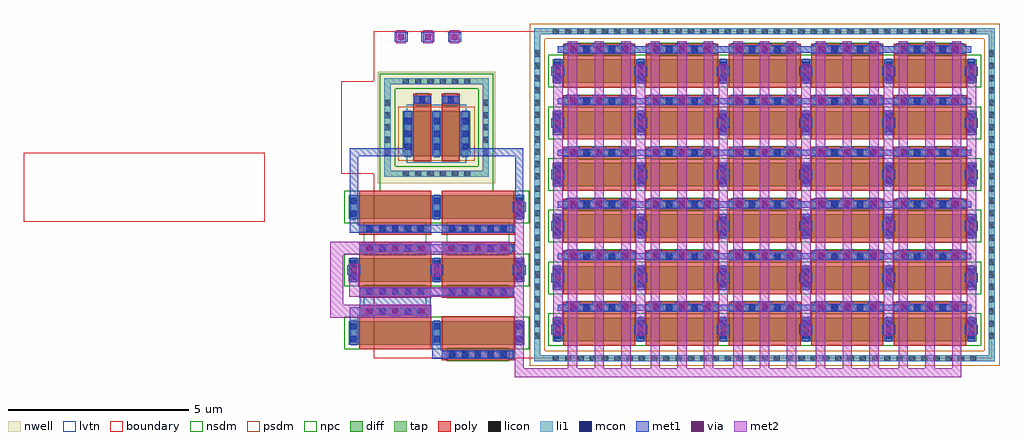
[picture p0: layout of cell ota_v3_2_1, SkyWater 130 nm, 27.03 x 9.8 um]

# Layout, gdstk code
import gdstk
lib = gdstk.Library(unit=1e-6, precision=1e-09)
def R(c, l, rs):  # rectangles x0, y0, x1, y1
    for r in rs: c.add(gdstk.rectangle(r[:2], r[2:], *l))
def A(c, l, x, y, w, h, nx, ny, dx, dy):  # array of equal rectangles
    R(c, l, [(x+i*dx, y+j*dy, x+i*dx+w, y+j*dy+h) for i in range(nx) for j in range(ny)])
nwell = (64, 20)
diff = (65, 20)
tap = (65, 44)
poly = (66, 20)
licon = (66, 44)
li1 = (67, 20)
mcon = (67, 44)
met1 = (68, 20)
via = (68, 44)
met2 = (69, 20)
nsdm = (93, 44)
psdm = (94, 20)
npc = (95, 20)
lvtn = (125, 44)
boundary = (235, 4)

sky130_fd_pr__nfet_01v8_ = lib.new_cell('sky130_fd_pr__nfet_01v8_KE8YQJ')
R(sky130_fd_pr__nfet_01v8_, boundary, [(-3.815,-0.955,2.86,0.955)])

c_sky130_fd_pr__nfet_01v8_ = lib.new_cell('sky130_fd_pr__nfet_01v8_YCG9D7')
R(c_sky130_fd_pr__nfet_01v8_, diff, [(-2.435,-0.325,2.435,0.325)])
R(c_sky130_fd_pr__nfet_01v8_, poly, [(0.145,-0.765,2.145,0.455), (-2.145,-0.455,-0.145,0.765)])
A(c_sky130_fd_pr__nfet_01v8_, licon, 0.38, -0.685, 0.17, 0.17, 5, 1, 0.34, 0)
A(c_sky130_fd_pr__nfet_01v8_, licon, -2.375, -0.255, 0.17, 0.17, 3, 2, 2.29, 0.34)
A(c_sky130_fd_pr__nfet_01v8_, licon, -1.91, 0.515, 0.17, 0.17, 5, 1, 0.34, 0)
A(c_sky130_fd_pr__nfet_01v8_, li1, -2.375, -0.345, 0.17, 0.69, 3, 1, 2.29, 0)
R(c_sky130_fd_pr__nfet_01v8_, li1, [(0.145,-0.685,2.145,-0.515), (-2.145,0.515,-0.145,0.685)])
A(c_sky130_fd_pr__nfet_01v8_, mcon, 0.34, -0.685, 0.17, 0.17, 5, 1, 0.36, 0)
A(c_sky130_fd_pr__nfet_01v8_, mcon, -2.375, -0.265, 0.17, 0.17, 3, 2, 2.29, 0.36)
A(c_sky130_fd_pr__nfet_01v8_, mcon, -1.95, 0.515, 0.17, 0.17, 5, 1, 0.36, 0)
A(c_sky130_fd_pr__nfet_01v8_, met1, -2.405, -0.325, 0.23, 0.65, 3, 1, 2.29, 0)
R(c_sky130_fd_pr__nfet_01v8_, met1, [(0.165,-0.715,2.125,-0.485), (-2.125,0.485,-0.165,0.715)])
R(c_sky130_fd_pr__nfet_01v8_, nsdm, [(-2.56,-0.45,2.56,0.45)])
R(c_sky130_fd_pr__nfet_01v8_, npc, [(0.28,-0.785,2.01,-0.415), (-2.01,0.415,-0.28,0.785)])
c_sky130_fd_pr__nfet_01v8_.add(gdstk.Label('D0', (-2.29,0), layer=67, texttype=5))
c_sky130_fd_pr__nfet_01v8_.add(gdstk.Label('G0', (-1.145,0.6), layer=67, texttype=5))
c_sky130_fd_pr__nfet_01v8_.add(gdstk.Label('S1', (0,0), layer=67, texttype=5))

c_sky130_fd_pr__nfet_01v8__ = lib.new_cell('sky130_fd_pr__nfet_01v8_NJGPHB')
R(c_sky130_fd_pr__nfet_01v8__, diff, [(-2.435,-0.17,2.435,0.48)])
R(c_sky130_fd_pr__nfet_01v8__, poly, [(-2.145,-0.61,-0.145,0.61), (0.145,-0.61,2.145,0.61)])
A(c_sky130_fd_pr__nfet_01v8__, licon, -1.91, -0.53, 0.17, 0.17, 5, 1, 0.34, 0)
A(c_sky130_fd_pr__nfet_01v8__, licon, 0.38, -0.53, 0.17, 0.17, 5, 1, 0.34, 0)
A(c_sky130_fd_pr__nfet_01v8__, licon, -2.375, -0.1, 0.17, 0.17, 3, 2, 2.29, 0.34)
A(c_sky130_fd_pr__nfet_01v8__, li1, -2.375, -0.19, 0.17, 0.69, 3, 1, 2.29, 0)
R(c_sky130_fd_pr__nfet_01v8__, li1, [(-2.145,-0.53,-0.145,-0.36), (0.145,-0.53,2.145,-0.36)])
A(c_sky130_fd_pr__nfet_01v8__, mcon, -1.95, -0.53, 0.17, 0.17, 5, 1, 0.36, 0)
A(c_sky130_fd_pr__nfet_01v8__, mcon, 0.34, -0.53, 0.17, 0.17, 5, 1, 0.36, 0)
A(c_sky130_fd_pr__nfet_01v8__, mcon, -2.375, -0.11, 0.17, 0.17, 3, 2, 2.29, 0.36)
A(c_sky130_fd_pr__nfet_01v8__, met1, -2.405, -0.17, 0.23, 0.65, 3, 1, 2.29, 0)
R(c_sky130_fd_pr__nfet_01v8__, met1, [(-2.125,-0.56,-0.165,-0.33), (0.165,-0.56,2.125,-0.33)])
R(c_sky130_fd_pr__nfet_01v8__, nsdm, [(-2.56,-0.295,2.56,0.605)])
R(c_sky130_fd_pr__nfet_01v8__, npc, [(-2.01,-0.63,-0.28,-0.26), (0.28,-0.63,2.01,-0.26)])
c_sky130_fd_pr__nfet_01v8__.add(gdstk.Label('D0', (-2.29,0.155), layer=67, texttype=5))
c_sky130_fd_pr__nfet_01v8__.add(gdstk.Label('G0', (-1.145,-0.445), layer=67, texttype=5))
c_sky130_fd_pr__nfet_01v8__.add(gdstk.Label('S1', (0,0.155), layer=67, texttype=5))
c_sky130_fd_pr__nfet_01v8__.add(gdstk.Label('G1', (1.145,-0.445), layer=67, texttype=5))

sky130_fd_pr__pfet_01v8_ = lib.new_cell('sky130_fd_pr__pfet_01v8_lvt_YE4XRW')
R(sky130_fd_pr__pfet_01v8_, nwell, [(-1.625,-1.545,1.625,1.545)])
R(sky130_fd_pr__pfet_01v8_, diff, [(-0.935,-0.805,0.935,0.445)])
R(sky130_fd_pr__pfet_01v8_, tap, [(-1.445,-1.365,1.445,-1.195), (-1.445,-1.195,-1.275,1.195), (1.275,-1.195,1.445,1.195), (-1.445,1.195,1.445,1.365)])
R(sky130_fd_pr__pfet_01v8_, poly, [(-0.645,-0.935,-0.145,0.93), (0.145,-0.935,0.645,0.93)])
A(sky130_fd_pr__pfet_01v8_, licon, -0.935, -1.365, 0.17, 0.17, 6, 2, 0.34, 2.56)
A(sky130_fd_pr__pfet_01v8_, licon, -1.445, -0.765, 0.17, 0.17, 1, 5, 0, 0.34)
A(sky130_fd_pr__pfet_01v8_, licon, 1.275, -0.765, 0.17, 0.17, 1, 5, 0, 0.34)
A(sky130_fd_pr__pfet_01v8_, licon, -0.875, -0.605, 0.17, 0.17, 3, 3, 0.79, 0.34)
R(sky130_fd_pr__pfet_01v8_, licon, [(-0.48,0.68,-0.31,0.85), (0.31,0.68,0.48,0.85)])
A(sky130_fd_pr__pfet_01v8_, li1, -0.875, -0.825, 0.17, 1.29, 3, 1, 0.79, 0)
R(sky130_fd_pr__pfet_01v8_, li1, [(-1.445,-1.365,1.445,-1.195), (-1.445,-1.195,-1.275,1.195), (1.275,-1.195,1.445,1.195), (-0.645,0.68,-0.145,0.85), (0.145,0.68,0.645,0.85), (-1.445,1.195,1.445,1.365)])
A(sky130_fd_pr__pfet_01v8_, mcon, -0.875, -0.625, 0.17, 0.17, 3, 3, 0.79, 0.36)
R(sky130_fd_pr__pfet_01v8_, mcon, [(-0.48,0.68,-0.31,0.85), (0.31,0.68,0.48,0.85)])
A(sky130_fd_pr__pfet_01v8_, met1, -0.905, -0.805, 0.23, 1.25, 3, 1, 0.79, 0)
R(sky130_fd_pr__pfet_01v8_, met1, [(-0.625,0.65,-0.165,0.88), (0.165,0.65,0.625,0.88)])
R(sky130_fd_pr__pfet_01v8_, nsdm, [(-1.57,-1.49,1.57,-1.07), (-1.57,-1.07,-1.15,1.07), (1.15,-1.07,1.57,1.07), (-1.57,1.07,1.57,1.49)])
R(sky130_fd_pr__pfet_01v8_, psdm, [(-1.06,-0.93,1.06,0.57)])
R(sky130_fd_pr__pfet_01v8_, npc, [(-0.58,0.58,-0.21,0.95), (0.21,0.58,0.58,0.95)])
R(sky130_fd_pr__pfet_01v8_, lvtn, [(-0.825,-0.985,0.825,0.625)])
R(sky130_fd_pr__pfet_01v8_, boundary, [(-2.64,-1.28,1.36,1.28)])
sky130_fd_pr__pfet_01v8_.add(gdstk.Label('B', (0,-1.28), layer=67, texttype=5))
sky130_fd_pr__pfet_01v8_.add(gdstk.Label('D0', (-0.79,-0.18), layer=67, texttype=5))
sky130_fd_pr__pfet_01v8_.add(gdstk.Label('G0', (-0.395,0.765), layer=67, texttype=5))
sky130_fd_pr__pfet_01v8_.add(gdstk.Label('S1', (0,-0.18), layer=67, texttype=5))
sky130_fd_pr__pfet_01v8_.add(gdstk.Label('G1', (0.395,0.765), layer=67, texttype=5))

c_sky130_fd_pr__nfet_01v8___ = lib.new_cell('sky130_fd_pr__nfet_01v8_BTD5D5')
R(c_sky130_fd_pr__nfet_01v8___, diff, [(-2.435,-0.325,2.435,0.325)])
R(c_sky130_fd_pr__nfet_01v8___, poly, [(-2.145,-0.765,-0.145,0.765), (0.145,-0.765,2.145,0.765)])
A(c_sky130_fd_pr__nfet_01v8___, licon, -1.91, -0.685, 0.17, 0.17, 5, 2, 0.34, 1.2)
A(c_sky130_fd_pr__nfet_01v8___, licon, 0.38, -0.685, 0.17, 0.17, 5, 2, 0.34, 1.2)
A(c_sky130_fd_pr__nfet_01v8___, licon, -2.375, -0.255, 0.17, 0.17, 3, 2, 2.29, 0.34)
A(c_sky130_fd_pr__nfet_01v8___, li1, -2.375, -0.345, 0.17, 0.69, 3, 1, 2.29, 0)
R(c_sky130_fd_pr__nfet_01v8___, li1, [(-2.145,-0.685,-0.145,-0.515), (0.145,-0.685,2.145,-0.515), (-2.145,0.515,-0.145,0.685), (0.145,0.515,2.145,0.685)])
A(c_sky130_fd_pr__nfet_01v8___, mcon, -1.95, -0.685, 0.17, 0.17, 5, 2, 0.36, 1.2)
A(c_sky130_fd_pr__nfet_01v8___, mcon, 0.34, -0.685, 0.17, 0.17, 5, 2, 0.36, 1.2)
A(c_sky130_fd_pr__nfet_01v8___, mcon, -2.375, -0.265, 0.17, 0.17, 3, 2, 2.29, 0.36)
A(c_sky130_fd_pr__nfet_01v8___, met1, -2.405, -0.325, 0.23, 0.65, 3, 1, 2.29, 0)
R(c_sky130_fd_pr__nfet_01v8___, met1, [(-2.125,-0.715,-0.165,-0.485), (0.165,-0.715,2.125,-0.485), (-2.125,0.485,-0.165,0.715), (0.165,0.485,2.125,0.715)])
R(c_sky130_fd_pr__nfet_01v8___, nsdm, [(-2.56,-0.45,2.56,0.45)])
R(c_sky130_fd_pr__nfet_01v8___, npc, [(-2.01,-0.785,-0.28,-0.415), (0.28,-0.785,2.01,-0.415), (-2.01,0.415,-0.28,0.785), (0.28,0.415,2.01,0.785)])
c_sky130_fd_pr__nfet_01v8___.add(gdstk.Label('D0', (-2.29,0), layer=67, texttype=5))
c_sky130_fd_pr__nfet_01v8___.add(gdstk.Label('G0', (-1.145,0.6), layer=67, texttype=5))
c_sky130_fd_pr__nfet_01v8___.add(gdstk.Label('S1', (0,0), layer=67, texttype=5))
c_sky130_fd_pr__nfet_01v8___.add(gdstk.Label('G1', (1.145,0.6), layer=67, texttype=5))

c_sky130_fd_pr__nfet_01v8____ = lib.new_cell('sky130_fd_pr__nfet_01v8_K8R7AN')
A(c_sky130_fd_pr__nfet_01v8____, diff, -5.87, -4.055, 11.74, 0.65, 1, 6, 0, 1.43)
R(c_sky130_fd_pr__nfet_01v8____, tap, [(-6.38,-4.615,6.38,-4.445), (-6.38,-4.445,-6.21,4.445), (6.21,-4.445,6.38,4.445), (-6.38,4.445,6.38,4.615)])
A(c_sky130_fd_pr__nfet_01v8____, poly, -5.58, -4.185, 2, 1.22, 5, 6, 2.29, 1.43)
A(c_sky130_fd_pr__nfet_01v8____, licon, -5.865, -4.615, 0.17, 0.17, 35, 2, 0.34, 9.06)
A(c_sky130_fd_pr__nfet_01v8____, licon, -6.38, -3.995, 0.17, 0.17, 1, 24, 0, 0.34)
A(c_sky130_fd_pr__nfet_01v8____, licon, 6.21, -3.995, 0.17, 0.17, 1, 24, 0, 0.34)
A(c_sky130_fd_pr__nfet_01v8____, licon, -5.81, -3.985, 0.17, 0.17, 6, 2, 2.29, 0.34)
A(c_sky130_fd_pr__nfet_01v8____, licon, -5.345, -3.215, 0.17, 0.17, 5, 6, 0.34, 1.43)
A(c_sky130_fd_pr__nfet_01v8____, licon, -3.055, -3.215, 0.17, 0.17, 5, 6, 0.34, 1.43)
A(c_sky130_fd_pr__nfet_01v8____, licon, -0.765, -3.215, 0.17, 0.17, 5, 6, 0.34, 1.43)
A(c_sky130_fd_pr__nfet_01v8____, licon, 1.525, -3.215, 0.17, 0.17, 5, 6, 0.34, 1.43)
A(c_sky130_fd_pr__nfet_01v8____, licon, 3.815, -3.215, 0.17, 0.17, 5, 6, 0.34, 1.43)
A(c_sky130_fd_pr__nfet_01v8____, licon, -5.81, -2.555, 0.17, 0.17, 6, 2, 2.29, 0.34)
A(c_sky130_fd_pr__nfet_01v8____, licon, -5.81, -1.125, 0.17, 0.17, 6, 2, 2.29, 0.34)
A(c_sky130_fd_pr__nfet_01v8____, licon, -5.81, 0.305, 0.17, 0.17, 6, 2, 2.29, 0.34)
A(c_sky130_fd_pr__nfet_01v8____, licon, -5.81, 1.735, 0.17, 0.17, 6, 2, 2.29, 0.34)
A(c_sky130_fd_pr__nfet_01v8____, licon, -5.81, 3.165, 0.17, 0.17, 6, 2, 2.29, 0.34)
A(c_sky130_fd_pr__nfet_01v8____, li1, -5.81, -4.075, 0.17, 0.69, 6, 6, 2.29, 1.43)
A(c_sky130_fd_pr__nfet_01v8____, li1, -5.725, -3.215, 11.45, 0.17, 1, 6, 0, 1.43)
R(c_sky130_fd_pr__nfet_01v8____, li1, [(-6.38,-4.615,6.38,-4.445), (-6.38,-4.445,-6.21,4.445), (6.21,-4.445,6.38,4.445), (-6.38,4.445,6.38,4.615)])
A(c_sky130_fd_pr__nfet_01v8____, mcon, -5.81, -3.995, 0.17, 0.17, 6, 2, 2.29, 0.36)
A(c_sky130_fd_pr__nfet_01v8____, mcon, -5.385, -3.215, 0.17, 0.17, 5, 6, 0.36, 1.43)
A(c_sky130_fd_pr__nfet_01v8____, mcon, -3.095, -3.215, 0.17, 0.17, 5, 6, 0.36, 1.43)
A(c_sky130_fd_pr__nfet_01v8____, mcon, -0.805, -3.215, 0.17, 0.17, 5, 6, 0.36, 1.43)
A(c_sky130_fd_pr__nfet_01v8____, mcon, 1.485, -3.215, 0.17, 0.17, 5, 6, 0.36, 1.43)
A(c_sky130_fd_pr__nfet_01v8____, mcon, 3.775, -3.215, 0.17, 0.17, 5, 6, 0.36, 1.43)
A(c_sky130_fd_pr__nfet_01v8____, mcon, -5.81, -2.565, 0.17, 0.17, 6, 2, 2.29, 0.36)
A(c_sky130_fd_pr__nfet_01v8____, mcon, -5.81, -1.135, 0.17, 0.17, 6, 2, 2.29, 0.36)
A(c_sky130_fd_pr__nfet_01v8____, mcon, -5.81, 0.295, 0.17, 0.17, 6, 2, 2.29, 0.36)
A(c_sky130_fd_pr__nfet_01v8____, mcon, -5.81, 1.725, 0.17, 0.17, 6, 2, 2.29, 0.36)
A(c_sky130_fd_pr__nfet_01v8____, mcon, -5.81, 3.155, 0.17, 0.17, 6, 2, 2.29, 0.36)
A(c_sky130_fd_pr__nfet_01v8____, met1, -5.84, -4.055, 0.23, 0.65, 6, 6, 2.29, 1.43)
A(c_sky130_fd_pr__nfet_01v8____, met1, -5.56, -3.245, 1.96, 0.03, 5, 2, 2.29, 0.2)
A(c_sky130_fd_pr__nfet_01v8____, met1, -5.725, -3.215, 11.45, 0.17, 1, 6, 0, 1.43)
A(c_sky130_fd_pr__nfet_01v8____, met1, -5.56, -1.815, 1.96, 0.03, 5, 2, 2.29, 0.2)
A(c_sky130_fd_pr__nfet_01v8____, met1, -5.56, -0.385, 1.96, 0.03, 5, 2, 2.29, 0.2)
A(c_sky130_fd_pr__nfet_01v8____, met1, -5.56, 1.045, 1.96, 0.03, 5, 2, 2.29, 0.2)
A(c_sky130_fd_pr__nfet_01v8____, met1, -5.56, 2.475, 1.96, 0.03, 5, 2, 2.29, 0.2)
A(c_sky130_fd_pr__nfet_01v8____, met1, -5.56, 3.905, 1.96, 0.03, 5, 2, 2.29, 0.2)
A(c_sky130_fd_pr__nfet_01v8____, nsdm, -5.995, -4.18, 11.99, 0.9, 1, 6, 0, 1.43)
R(c_sky130_fd_pr__nfet_01v8____, psdm, [(-6.505,-4.74,6.505,-4.32), (-6.505,-4.32,-6.085,4.32), (6.085,-4.32,6.505,4.32), (-6.505,4.32,6.505,4.74)])
A(c_sky130_fd_pr__nfet_01v8____, npc, -5.445, -3.315, 1.73, 0.37, 5, 6, 2.29, 1.43)
R(c_sky130_fd_pr__nfet_01v8____, boundary, [(-10.825,-4.53,6.295,4.53)])
c_sky130_fd_pr__nfet_01v8____.add(gdstk.Label('B', (0,-4.53), layer=67, texttype=5))
c_sky130_fd_pr__nfet_01v8____.add(gdstk.Label('D0_0', (-5.725,-3.73), layer=67, texttype=5))
c_sky130_fd_pr__nfet_01v8____.add(gdstk.Label('G0', (4.58,-3.13), layer=67, texttype=5))
c_sky130_fd_pr__nfet_01v8____.add(gdstk.Label('G0', (2.29,-3.13), layer=67, texttype=5))
c_sky130_fd_pr__nfet_01v8____.add(gdstk.Label('G0', (0,-3.13), layer=67, texttype=5))
c_sky130_fd_pr__nfet_01v8____.add(gdstk.Label('G0', (-2.29,-3.13), layer=67, texttype=5))
c_sky130_fd_pr__nfet_01v8____.add(gdstk.Label('G0', (-4.58,-3.13), layer=67, texttype=5))
c_sky130_fd_pr__nfet_01v8____.add(gdstk.Label('D0_1', (-5.725,-2.3), layer=67, texttype=5))
c_sky130_fd_pr__nfet_01v8____.add(gdstk.Label('G1', (4.58,-1.7), layer=67, texttype=5))
c_sky130_fd_pr__nfet_01v8____.add(gdstk.Label('G1', (2.29,-1.7), layer=67, texttype=5))
c_sky130_fd_pr__nfet_01v8____.add(gdstk.Label('G1', (0,-1.7), layer=67, texttype=5))
c_sky130_fd_pr__nfet_01v8____.add(gdstk.Label('G1', (-2.29,-1.7), layer=67, texttype=5))
c_sky130_fd_pr__nfet_01v8____.add(gdstk.Label('G1', (-4.58,-1.7), layer=67, texttype=5))
c_sky130_fd_pr__nfet_01v8____.add(gdstk.Label('D0_2', (-5.725,-0.87), layer=67, texttype=5))
c_sky130_fd_pr__nfet_01v8____.add(gdstk.Label('G2', (4.58,-0.27), layer=67, texttype=5))
c_sky130_fd_pr__nfet_01v8____.add(gdstk.Label('G2', (2.29,-0.27), layer=67, texttype=5))
c_sky130_fd_pr__nfet_01v8____.add(gdstk.Label('G2', (0,-0.27), layer=67, texttype=5))
c_sky130_fd_pr__nfet_01v8____.add(gdstk.Label('G2', (-2.29,-0.27), layer=67, texttype=5))
c_sky130_fd_pr__nfet_01v8____.add(gdstk.Label('G2', (-4.58,-0.27), layer=67, texttype=5))
c_sky130_fd_pr__nfet_01v8____.add(gdstk.Label('D0_3', (-5.725,0.56), layer=67, texttype=5))
c_sky130_fd_pr__nfet_01v8____.add(gdstk.Label('G3', (4.58,1.16), layer=67, texttype=5))
c_sky130_fd_pr__nfet_01v8____.add(gdstk.Label('G3', (2.29,1.16), layer=67, texttype=5))
c_sky130_fd_pr__nfet_01v8____.add(gdstk.Label('G3', (0,1.16), layer=67, texttype=5))
c_sky130_fd_pr__nfet_01v8____.add(gdstk.Label('G3', (-2.29,1.16), layer=67, texttype=5))
c_sky130_fd_pr__nfet_01v8____.add(gdstk.Label('G3', (-4.58,1.16), layer=67, texttype=5))
c_sky130_fd_pr__nfet_01v8____.add(gdstk.Label('D0_4', (-5.725,1.99), layer=67, texttype=5))
c_sky130_fd_pr__nfet_01v8____.add(gdstk.Label('G4', (4.58,2.59), layer=67, texttype=5))
c_sky130_fd_pr__nfet_01v8____.add(gdstk.Label('G4', (2.29,2.59), layer=67, texttype=5))
c_sky130_fd_pr__nfet_01v8____.add(gdstk.Label('G4', (0,2.59), layer=67, texttype=5))
c_sky130_fd_pr__nfet_01v8____.add(gdstk.Label('G4', (-2.29,2.59), layer=67, texttype=5))
c_sky130_fd_pr__nfet_01v8____.add(gdstk.Label('G4', (-4.58,2.59), layer=67, texttype=5))
c_sky130_fd_pr__nfet_01v8____.add(gdstk.Label('D0_5', (-5.725,3.42), layer=67, texttype=5))
c_sky130_fd_pr__nfet_01v8____.add(gdstk.Label('G5', (4.58,4.02), layer=67, texttype=5))
c_sky130_fd_pr__nfet_01v8____.add(gdstk.Label('G5', (2.29,4.02), layer=67, texttype=5))
c_sky130_fd_pr__nfet_01v8____.add(gdstk.Label('G5', (0,4.02), layer=67, texttype=5))
c_sky130_fd_pr__nfet_01v8____.add(gdstk.Label('G5', (-2.29,4.02), layer=67, texttype=5))
c_sky130_fd_pr__nfet_01v8____.add(gdstk.Label('G5', (-4.58,4.02), layer=67, texttype=5))
c_sky130_fd_pr__nfet_01v8____.add(gdstk.Label('S1_0', (-3.435,-3.73), layer=67, texttype=5))
c_sky130_fd_pr__nfet_01v8____.add(gdstk.Label('S1_1', (-3.435,-2.3), layer=67, texttype=5))
c_sky130_fd_pr__nfet_01v8____.add(gdstk.Label('S1_2', (-3.435,-0.87), layer=67, texttype=5))
c_sky130_fd_pr__nfet_01v8____.add(gdstk.Label('S1_3', (-3.435,0.56), layer=67, texttype=5))
c_sky130_fd_pr__nfet_01v8____.add(gdstk.Label('S1_4', (-3.435,1.99), layer=67, texttype=5))
c_sky130_fd_pr__nfet_01v8____.add(gdstk.Label('S1_5', (-3.435,3.42), layer=67, texttype=5))
c_sky130_fd_pr__nfet_01v8____.add(gdstk.Label('D2_0', (-1.145,-3.73), layer=67, texttype=5))
c_sky130_fd_pr__nfet_01v8____.add(gdstk.Label('D2_1', (-1.145,-2.3), layer=67, texttype=5))
c_sky130_fd_pr__nfet_01v8____.add(gdstk.Label('D2_2', (-1.145,-0.87), layer=67, texttype=5))
c_sky130_fd_pr__nfet_01v8____.add(gdstk.Label('D2_3', (-1.145,0.56), layer=67, texttype=5))
c_sky130_fd_pr__nfet_01v8____.add(gdstk.Label('D2_4', (-1.145,1.99), layer=67, texttype=5))
c_sky130_fd_pr__nfet_01v8____.add(gdstk.Label('D2_5', (-1.145,3.42), layer=67, texttype=5))
c_sky130_fd_pr__nfet_01v8____.add(gdstk.Label('S3_0', (1.145,-3.73), layer=67, texttype=5))
c_sky130_fd_pr__nfet_01v8____.add(gdstk.Label('S3_1', (1.145,-2.3), layer=67, texttype=5))
c_sky130_fd_pr__nfet_01v8____.add(gdstk.Label('S3_2', (1.145,-0.87), layer=67, texttype=5))
c_sky130_fd_pr__nfet_01v8____.add(gdstk.Label('S3_3', (1.145,0.56), layer=67, texttype=5))
c_sky130_fd_pr__nfet_01v8____.add(gdstk.Label('S3_4', (1.145,1.99), layer=67, texttype=5))
c_sky130_fd_pr__nfet_01v8____.add(gdstk.Label('S3_5', (1.145,3.42), layer=67, texttype=5))
c_sky130_fd_pr__nfet_01v8____.add(gdstk.Label('D4_0', (3.435,-3.73), layer=67, texttype=5))
c_sky130_fd_pr__nfet_01v8____.add(gdstk.Label('S4_0', (5.725,-3.73), layer=67, texttype=5))
c_sky130_fd_pr__nfet_01v8____.add(gdstk.Label('D4_1', (3.435,-2.3), layer=67, texttype=5))
c_sky130_fd_pr__nfet_01v8____.add(gdstk.Label('S4_1', (5.725,-2.3), layer=67, texttype=5))
c_sky130_fd_pr__nfet_01v8____.add(gdstk.Label('D4_2', (3.435,-0.87), layer=67, texttype=5))
c_sky130_fd_pr__nfet_01v8____.add(gdstk.Label('S4_2', (5.725,-0.87), layer=67, texttype=5))
c_sky130_fd_pr__nfet_01v8____.add(gdstk.Label('D4_3', (3.435,0.56), layer=67, texttype=5))
c_sky130_fd_pr__nfet_01v8____.add(gdstk.Label('S4_3', (5.725,0.56), layer=67, texttype=5))
c_sky130_fd_pr__nfet_01v8____.add(gdstk.Label('D4_4', (3.435,1.99), layer=67, texttype=5))
c_sky130_fd_pr__nfet_01v8____.add(gdstk.Label('S4_4', (5.725,1.99), layer=67, texttype=5))
c_sky130_fd_pr__nfet_01v8____.add(gdstk.Label('D4_5', (3.435,3.42), layer=67, texttype=5))
c_sky130_fd_pr__nfet_01v8____.add(gdstk.Label('S4_5', (5.725,3.42), layer=67, texttype=5))

ota_v3_2_1 = lib.new_cell('ota_v3_2_1')
A(ota_v3_2_1, met1, 6.175, -4.355, 0.36, 0.26, 6, 6, 2.29, 1.43)
A(ota_v3_2_1, met1, 6.58, -3.71, 0.36, 0.26, 3, 2, 0.74, 1.435)
A(ota_v3_2_1, met1, 8.87, -3.71, 0.36, 0.26, 3, 2, 0.74, 1.435)
A(ota_v3_2_1, met1, 11.16, -3.71, 0.36, 0.26, 3, 2, 0.74, 1.435)
A(ota_v3_2_1, met1, 13.45, -3.71, 0.36, 0.26, 3, 2, 0.74, 1.435)
A(ota_v3_2_1, met1, 15.74, -3.71, 0.36, 0.26, 3, 2, 0.74, 1.435)
A(ota_v3_2_1, met1, 0.525, -2.71, 0.36, 0.26, 3, 1, 2.29, 0)
A(ota_v3_2_1, met1, 0.93, -2.11, 0.36, 0.26, 3, 1, 0.74, 0)
A(ota_v3_2_1, met1, 3.22, -2.11, 0.36, 0.26, 3, 1, 0.74, 0)
A(ota_v3_2_1, met1, 6.58, -0.85, 0.36, 0.26, 3, 4, 0.74, 1.43)
A(ota_v3_2_1, met1, 8.87, -0.85, 0.36, 0.26, 3, 4, 0.74, 1.43)
A(ota_v3_2_1, met1, 11.16, -0.85, 0.36, 0.26, 3, 4, 0.74, 1.43)
A(ota_v3_2_1, met1, 13.45, -0.85, 0.36, 0.26, 3, 4, 0.74, 1.43)
A(ota_v3_2_1, met1, 15.74, -0.85, 0.36, 0.26, 3, 4, 0.74, 1.43)
A(ota_v3_2_1, met1, 1.835, 3.745, 0.36, 0.26, 3, 1, 0.74, 0)
R(ota_v3_2_1, met1, [(2.88,-5.035,3.28,-4.805), (2.88,-4.805,3.11,-4.64), (0.59,-3.995,0.82,-3.85), (0.59,-3.85,1.29,-3.605), (1.67,-3.85,2.03,-3.605), (2.41,-3.85,2.77,-3.605), (0.87,-3.605,2.83,-3.295), (0.87,-3.295,3.165,-3.29), (2.83,-3.29,3.165,-3.065), (2.88,-2.755,3.11,-2.735), (2.83,-2.095,3.165,-1.865), (0.59,-1.555,1.045,-1.325), (2.83,-1.555,3.285,-1.325), (0.59,-1.325,0.82,-1.165), (5.105,-0.97,5.465,-0.71), (0.59,-0.515,0.82,0.565), (5.17,-0.515,5.4,0.565), (0.59,0.565,2.32,0.795), (3.67,0.565,5.4,0.795)])
A(ota_v3_2_1, via, 6.28, -4.3, 0.15, 0.15, 6, 6, 2.29, 1.43)
A(ota_v3_2_1, via, 1.035, -3.795, 0.15, 0.15, 3, 2, 0.74, 1.74)
A(ota_v3_2_1, via, 6.685, -3.655, 0.15, 0.15, 3, 2, 0.74, 1.435)
A(ota_v3_2_1, via, 8.975, -3.655, 0.15, 0.15, 3, 2, 0.74, 1.435)
A(ota_v3_2_1, via, 11.265, -3.655, 0.15, 0.15, 3, 2, 0.74, 1.435)
A(ota_v3_2_1, via, 13.555, -3.655, 0.15, 0.15, 3, 2, 0.74, 1.435)
A(ota_v3_2_1, via, 15.845, -3.655, 0.15, 0.15, 3, 2, 0.74, 1.435)
A(ota_v3_2_1, via, 0.63, -2.655, 0.15, 0.15, 3, 1, 2.29, 0)
A(ota_v3_2_1, via, 3.325, -2.055, 0.15, 0.15, 3, 1, 0.74, 0)
A(ota_v3_2_1, via, 6.685, -0.795, 0.15, 0.15, 3, 4, 0.74, 1.43)
A(ota_v3_2_1, via, 8.975, -0.795, 0.15, 0.15, 3, 4, 0.74, 1.43)
A(ota_v3_2_1, via, 11.265, -0.795, 0.15, 0.15, 3, 4, 0.74, 1.43)
A(ota_v3_2_1, via, 13.555, -0.795, 0.15, 0.15, 3, 4, 0.74, 1.43)
A(ota_v3_2_1, via, 15.845, -0.795, 0.15, 0.15, 3, 4, 0.74, 1.43)
A(ota_v3_2_1, via, 1.94, 3.8, 0.15, 0.15, 3, 1, 0.74, 0)
R(ota_v3_2_1, via, [(5.21,-0.915,5.36,-0.765)])
A(ota_v3_2_1, met2, 6.63, -5.295, 0.26, 9.045, 3, 1, 0.74, 0)
A(ota_v3_2_1, met2, 8.92, -5.295, 0.26, 9.045, 3, 1, 0.74, 0)
A(ota_v3_2_1, met2, 11.21, -5.295, 0.26, 9.045, 3, 1, 0.74, 0)
A(ota_v3_2_1, met2, 13.5, -5.295, 0.26, 9.045, 3, 1, 0.74, 0)
A(ota_v3_2_1, met2, 15.79, -5.295, 0.26, 9.045, 3, 1, 0.74, 0)
A(ota_v3_2_1, met2, 6.225, -4.405, 0.26, 7.51, 6, 1, 2.29, 0)
A(ota_v3_2_1, met2, 1.885, 3.695, 0.26, 0.36, 3, 1, 0.74, 0)
R(ota_v3_2_1, met2, [(5.155,-5.555,17.53,-5.295), (5.155,-5.295,5.415,-3.32), (0.055,-3.9,2.85,-3.54), (0.055,-3.54,0.415,-2.16), (0.575,-3.32,5.415,-3.06), (0.575,-3.06,0.835,-2.4), (5.155,-3.06,5.415,-0.66), (2.865,-2.76,3.125,-2.4), (0.055,-2.16,5.01,-1.8)])
R(ota_v3_2_1, nsdm, [(1.425,-0.39,4.565,-0.12)])
R(ota_v3_2_1, npc, [(0.985,-3.535,2.715,-3.365), (0.985,-1.795,2.715,-1.625), (3.275,-1.795,5.005,-1.625)])
ota_v3_2_1.add(gdstk.Reference(sky130_fd_pr__nfet_01v8_, (-4.63,-0.285)))
ota_v3_2_1.add(gdstk.Reference(c_sky130_fd_pr__nfet_01v8_, (2.995,-4.32)))
ota_v3_2_1.add(gdstk.Reference(c_sky130_fd_pr__nfet_01v8__, (2.995,-0.995)))
ota_v3_2_1.add(gdstk.Reference(sky130_fd_pr__pfet_01v8_, (2.995,1.37)))
ota_v3_2_1.add(gdstk.Reference(c_sky130_fd_pr__nfet_01v8___, (2.995,-2.58)))
ota_v3_2_1.add(gdstk.Reference(c_sky130_fd_pr__nfet_01v8____, (12.08,-0.495)))

lib.write_gds('ota_v3_2_1.gds')
